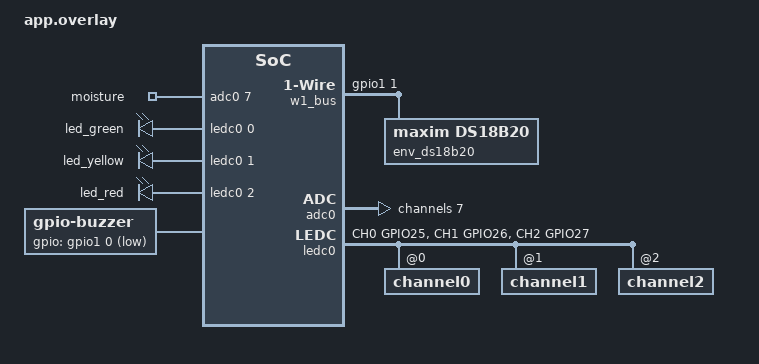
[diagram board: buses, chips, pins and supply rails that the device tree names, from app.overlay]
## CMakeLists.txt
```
# SPDX-License-Identifier: Apache-2.0

cmake_minimum_required(VERSION 3.28.0)

# list(APPEND EXTRA_ZEPHYR_MODULES
#   ${CMAKE_CURRENT_SOURCE_DIR}/../../common
# )

find_package(Zephyr REQUIRED HINTS $ENV{ZEPHYR_BASE})
project(blinky)


target_sources(app PRIVATE src/main.c)
```

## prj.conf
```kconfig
CONFIG_GPIO=y

CONFIG_LED=y
CONFIG_LED_PWM=y
CONFIG_PWM=y

CONFIG_LOG=y
CONFIG_LOG_DEFAULT_LEVEL=3

CONFIG_ADC=y
CONFIG_FPU=y

CONFIG_BUZZER=y
CONFIG_BUZZER_GPIO=y

CONFIG_SENSOR=y
CONFIG_W1=y
CONFIG_W1_NET=y
```

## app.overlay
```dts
&adc0 {
    status = "okay";
    #address-cells = <1>;
    #size-cells = <0>;

    channel@7 {
        reg = <7>;
        zephyr,gain = "ADC_GAIN_1_4";
        zephyr,reference = "ADC_REF_INTERNAL";
        zephyr,acquisition-time = <ADC_ACQ_TIME_DEFAULT>;
        zephyr,resolution = <12>;
        zephyr,vref-mv = <1100>;
    };
};


&pinctrl {
  ledc0_default: ledc0_default {
    group1 {
      pinmux = <LEDC_CH0_GPIO25>;
      output-enable;
    };

    group2 {
      pinmux = <LEDC_CH1_GPIO26>;
      output-enable;
    };

    group3 {
      pinmux = <LEDC_CH2_GPIO27>;
      output-enable;
    };
  };
};

&ledc0 {
  pinctrl-0 = <&ledc0_default>;
  pinctrl-names = "default";
  status = "okay";
  #address-cells = <1>;
  #size-cells = <0>;

  channel0@0 {
    reg = <0x0>;
    timer = <0>;
  };

  channel1@1 {
    reg = <0x1>;
    timer = <0>;
  };

  channel2@2 {
    reg = <0x2>;
    timer = <0>;
  };
};

/ {
  aliases {
    led-green = &led_green;
    led-yellow = &led_yellow;
    led-red = &led_red;
    env-temp-sensor = &env_ds18b20;
    w1 = &w1_bus;
    buzzer = &buzzer;
  };

  zephyr,user {
    io-channels = <&adc0 7>;
    io-channel-names = "moisture";
  };

  pwmleds {
    compatible = "pwm-leds";
    led_green: led_green {
      pwms = <&ledc0 0 10000 PWM_POLARITY_NORMAL>;
    };

    led_yellow: led_yellow {
      pwms = <&ledc0 1 10000 PWM_POLARITY_NORMAL>;
    };

    led_red: led_red {
      pwms = <&ledc0 2 10000 PWM_POLARITY_NORMAL>;
    };
  };

  buzzer: buzzer {
    compatible = "gpio-buzzer";
    gpios = <&gpio1 0 (GPIO_ACTIVE_LOW | GPIO_PULL_UP)>;
  };

  w1_bus: w1-bus {
    compatible = "zephyr,w1-gpio";
    // gpio1 is the second gpio controller, offset by 32, thus 
    // 33 (actual pin) - 32 -> 1
    gpios = <&gpio1 1 (GPIO_ACTIVE_HIGH | GPIO_OPEN_DRAIN)>;
    status = "okay";

    env_ds18b20: ds18b20 {
      compatible = "maxim,ds18b20";
      family-code = <0x28>;
      resolution = <12>;
      status = "okay";
    };
  };
};
```

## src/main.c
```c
#include <stdio.h>
#include <zephyr/drivers/adc.h>
#include <zephyr/drivers/buzzer.h>
#include <zephyr/drivers/gpio.h>
#include <zephyr/drivers/led.h>
#include <zephyr/drivers/sensor.h>
#include <zephyr/drivers/w1.h>
#include <zephyr/kernel.h>
#include <zephyr/logging/log.h>

LOG_MODULE_REGISTER(mvp_pure);

#define MAIN_LOOP_SLEEP_MS 1000
#define LED_TOGGLE_DELAY_MS 200
#define BUZZ_TIME_MS 1000

#define MOISTURE_SENSOR_DRY_MV 2500
#define MOISTURE_SENSOR_WET_MV 1000

// #define SOIL_TEMP_SENSOR(soil_temp_sensor)

static const struct led_dt_spec led_green =
    LED_DT_SPEC_GET(DT_ALIAS(led_green));
static const struct led_dt_spec led_yellow =
    LED_DT_SPEC_GET(DT_ALIAS(led_yellow));
static const struct led_dt_spec led_red = LED_DT_SPEC_GET(DT_ALIAS(led_red));

static const struct device* w1_bus = DEVICE_DT_GET(DT_ALIAS(w1));

static const struct device* env_temp_sensor =
    DEVICE_DT_GET(DT_ALIAS(env_temp_sensor));

static const struct adc_dt_spec moisture_sensor_adc =
    ADC_DT_SPEC_GET_BY_NAME(DT_PATH(zephyr_user), moisture);

static const struct device* buzzer = DEVICE_DT_GET(DT_ALIAS(buzzer));

void w1_search_callback(struct w1_rom rom, void* user_data) {
  printk(
      "Found 1Wire slave: family=%#x, serial=%#02x%02x%02x%02x%02x%02x\n",
      rom.family,
      rom.serial[0],
      rom.serial[1],
      rom.serial[2],
      rom.serial[3],
      rom.serial[4],
      rom.serial[5]
  );
}

bool read_temp(const struct device* dev, struct sensor_value* out) {
  if (sensor_sample_fetch_chan(dev, SENSOR_CHAN_AMBIENT_TEMP) != 0) {
    LOG_WRN("Failed to fetch sensor temperature channel");
    return false;
  }

  if (sensor_channel_get(dev, SENSOR_CHAN_AMBIENT_TEMP, out) != 0) {
    LOG_WRN("Failed to get temperature data from buffer");
    return false;
  }

  return true;
}

int main(void) {

  struct led_dt_spec leds[3] = { led_green, led_yellow, led_red };
  size_t n_leds = sizeof(leds) / sizeof(leds[0]);

  // LEDs
  for (size_t i = 0; i < n_leds; i++) {
    if (!led_is_ready_dt(&leds[i])) {
      LOG_ERR("LED #%d is not ready!", i);
      return 1;
    }
  }

  // 1Wire bus
  if (!device_is_ready(w1_bus)) {
    LOG_ERR("1Wire bus is not ready!");
    return 1;
  }

  printk("Searching for 1Wire slaves\n");
  w1_lock_bus(w1_bus);
  int found = w1_search_rom(w1_bus, &w1_search_callback, NULL);
  w1_unlock_bus(w1_bus);
  printk("Search finished, found %d devices\n", found);

  // temp sensors
  if (!device_is_ready(env_temp_sensor)) {
    LOG_ERR("Env temp sensor is not ready!");
    return 1;
  }

  // ADC - moisture sensor
  if (!adc_is_ready_dt(&moisture_sensor_adc)) {
    LOG_ERR("Moisture sensor ADC is not ready!");
    return 1;
  }

  if (adc_channel_setup_dt(&moisture_sensor_adc)) {
    LOG_ERR("Error configuring moisture sensor ADC!");
    return 1;
  }

  int32_t moisture_sensor_adc_buf[1] = { 0 };
  struct adc_sequence moisture_sensor_adc_seq = {
    .buffer = &moisture_sensor_adc_buf,
    .buffer_size = sizeof(moisture_sensor_adc_buf),
  };
  adc_sequence_init_dt(&moisture_sensor_adc, &moisture_sensor_adc_seq);

  // buzzer
  if (!device_is_ready(buzzer)) {
    LOG_ERR("Buzzer is not ready!");
    return 1;
  }

  // main loop
  uint8_t brightness = 100;
  while (1) {
    printk("Toggling LEDs\n");

    printk("Setting LEDs to %u%%\n", brightness);
    for (size_t i = 0; i < n_leds; i++) {
      if (led_set_brightness(leds[i].dev, leds[i].index, brightness) < 0) {
        LOG_WRN("Failed to set brightness for LED #%zu", i);
      }
      k_msleep(LED_TOGGLE_DELAY_MS);
    }

    brightness = (brightness > 0) ? 0 : 100;

    printk("Getting temperature\n");
    struct sensor_value temp = { 0 };
    if (!read_temp(env_temp_sensor, &temp)) {
      LOG_WRN("Failed to get environment temperature");
    } else {
      printk(
          "Current environment temperature is %d.%06d\n",
          temp.val1,
          temp.val2
      );
    }

    printk("Getting moisture\n");
    if (adc_read_dt(&moisture_sensor_adc, &moisture_sensor_adc_seq) < 0) {
      LOG_ERR("Error reading moisture");
    } else {
      printk("Moisture raw=%d\n", moisture_sensor_adc_buf[0]);
      int32_t moisture_mv = moisture_sensor_adc_buf[0];

      if (adc_raw_to_millivolts_dt(&moisture_sensor_adc, &moisture_mv) != 0) {
        LOG_WRN("Couldn't convert raw to mV");
      } else {
        printk("Moisture as voltage U=%dmV\n", moisture_mv);
        float moisture_perc =
            ((float)(MOISTURE_SENSOR_DRY_MV - moisture_mv) /
             (float)(MOISTURE_SENSOR_DRY_MV - MOISTURE_SENSOR_WET_MV)) *
            100;
        printk("Moisture: %.2f%%\n", (double)moisture_perc);
        // NOTE: Might be a good idea to clamp it [0; 100]
      }
    }

    printk("Bzzzz...\n");
    // NOTE: commented out - too annoying
    // buzzer_beep(buzzer, BUZZ_TIME_MS);
    k_msleep(BUZZ_TIME_MS);
    printk("<silence>\n");

    k_msleep(MAIN_LOOP_SLEEP_MS);
  }

  return 0;
}
```
